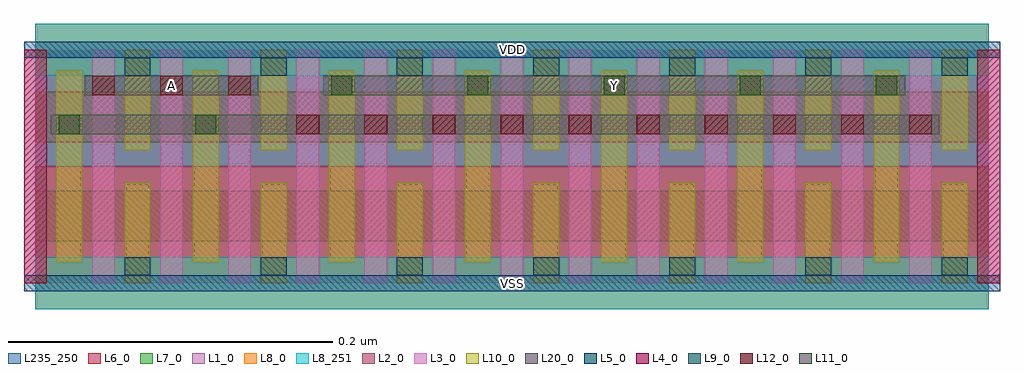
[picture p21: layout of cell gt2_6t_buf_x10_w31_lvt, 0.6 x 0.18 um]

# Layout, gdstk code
import gdstk
lib = gdstk.Library(unit=1e-6, precision=5e-10)
def R(c, l, rs):  # rectangles x0, y0, x1, y1
    for r in rs: c.add(gdstk.rectangle(r[:2], r[2:], *l))
def A(c, l, x, y, w, h, nx, ny, dx, dy):  # array of equal rectangles
    R(c, l, [(x+i*dx, y+j*dy, x+i*dx+w, y+j*dy+h) for i in range(nx) for j in range(ny)])
L1_0 = (1, 0)
L2_0 = (2, 0)
L3_0 = (3, 0)
L4_0 = (4, 0)
L5_0 = (5, 0)
L6_0 = (6, 0)
L7_0 = (7, 0)
L8_0 = (8, 0)
L8_251 = (8, 251)
L9_0 = (9, 0)
L10_0 = (10, 0)
L11_0 = (11, 0)
L12_0 = (12, 0)
L20_0 = (20, 0)
L235_250 = (235, 250)

gt2_6t_buf_x10_w31_lvt = lib.new_cell('gt2_6t_buf_x10_w31_lvt')
R(gt2_6t_buf_x10_w31_lvt, L1_0, [(0,0.072,0.588,0.144)])
R(gt2_6t_buf_x10_w31_lvt, L2_0, [(0,0.026,0.588,0.057), (0,0.087,0.588,0.118)])
A(gt2_6t_buf_x10_w31_lvt, L3_0, -0.007, 0, 0.014, 0.144, 15, 1, 0.042, 0)
R(gt2_6t_buf_x10_w31_lvt, L4_0, [(-0.007,0,0.007,0.144), (0.581,0,0.595,0.144)])
R(gt2_6t_buf_x10_w31_lvt, L5_0, [(-0.007,-0.005,0.595,0.005), (-0.007,0.139,0.595,0.149)])
R(gt2_6t_buf_x10_w31_lvt, L6_0, [(0,0,0.588,0.072)])
R(gt2_6t_buf_x10_w31_lvt, L7_0, [(0,0.072,0.588,0.144)])
R(gt2_6t_buf_x10_w31_lvt, L8_0, [(0,-0.016,0.588,0.016), (0,0.128,0.588,0.16)])
R(gt2_6t_buf_x10_w31_lvt, L8_251, [(0,-0.016,0.588,0.016), (0,0.128,0.588,0.16)])
A(gt2_6t_buf_x10_w31_lvt, L9_0, 0.055, 0.005, 0.016, 0.011, 7, 2, 0.084, 0.123)
A(gt2_6t_buf_x10_w31_lvt, L10_0, 0.055, 0, 0.016, 0.062, 7, 2, 0.084, 0.082)
A(gt2_6t_buf_x10_w31_lvt, L10_0, 0.013, 0.013, 0.016, 0.118, 7, 1, 0.084, 0)
A(gt2_6t_buf_x10_w31_lvt, L11_0, 0.1825, 0.116, 0.013, 0.012, 5, 1, 0.084, 0)
R(gt2_6t_buf_x10_w31_lvt, L11_0, [(0.0145,0.092,0.0275,0.104), (0.0985,0.092,0.1115,0.104)])
A(gt2_6t_buf_x10_w31_lvt, L12_0, 0.161, 0.092, 0.014, 0.012, 10, 1, 0.042, 0)
A(gt2_6t_buf_x10_w31_lvt, L12_0, 0.035, 0.116, 0.014, 0.012, 3, 1, 0.042, 0)
R(gt2_6t_buf_x10_w31_lvt, L20_0, [(0.0095,0.092,0.5575,0.104), (0.0305,0.116,0.1375,0.128), (0.1775,0.116,0.5365,0.128)])
R(gt2_6t_buf_x10_w31_lvt, L235_250, [(0,0,0.588,0.144)])
gt2_6t_buf_x10_w31_lvt.add(gdstk.Label('VSS', (0.294,0), layer=8, texttype=251))
gt2_6t_buf_x10_w31_lvt.add(gdstk.Label('VDD', (0.294,0.144), layer=8, texttype=251))
gt2_6t_buf_x10_w31_lvt.add(gdstk.Label('A', (0.084,0.122), layer=20, texttype=251))
gt2_6t_buf_x10_w31_lvt.add(gdstk.Label('Y', (0.357,0.122), layer=20, texttype=251))

lib.write_gds('gt2_6t_buf_x10_w31_lvt.gds')
